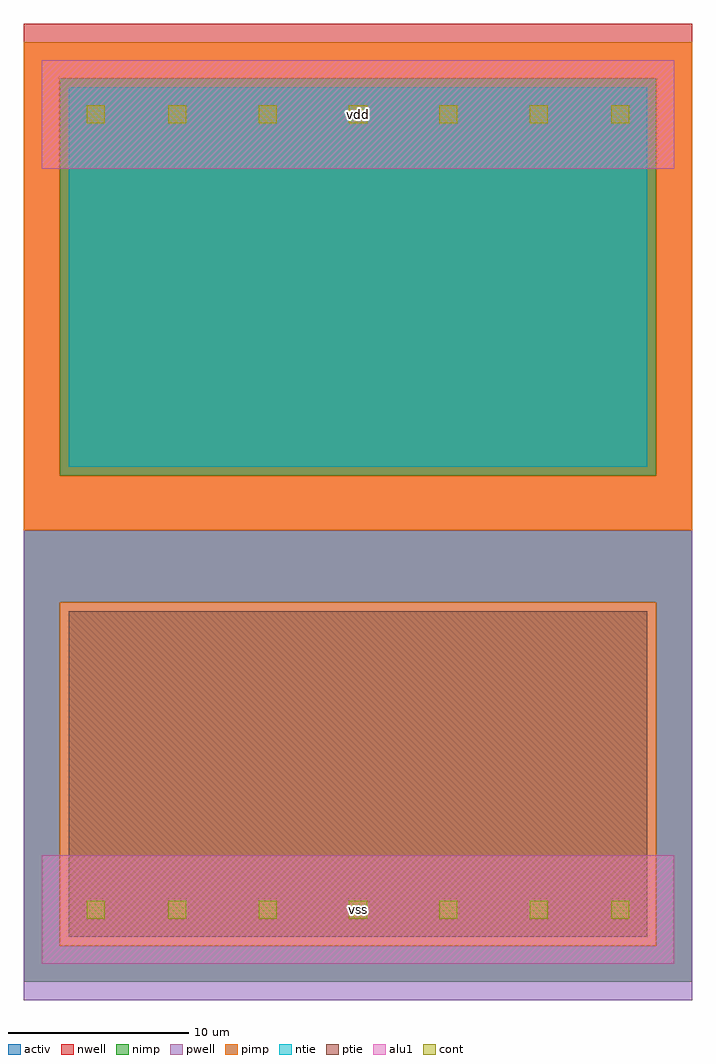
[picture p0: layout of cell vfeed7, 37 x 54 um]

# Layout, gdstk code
import gdstk
lib = gdstk.Library(unit=1e-6, precision=1e-09)
def R(c, l, rs):  # rectangles x0, y0, x1, y1
    for r in rs: c.add(gdstk.rectangle(r[:2], r[2:], *l))
def A(c, l, x, y, w, h, nx, ny, dx, dy):  # array of equal rectangles
    R(c, l, [(x+i*dx, y+j*dy, x+i*dx+w, y+j*dy+h) for i in range(nx) for j in range(ny)])
ntie = (5, 0)
ptie = (6, 0)
cont = (25, 0)
pwell = (41, 0)
nwell = (42, 0)
activ = (43, 0)
pimp = (44, 0)
nimp = (45, 0)
alu1 = (49, 0)

vfeed7 = lib.new_cell('vfeed7')
R(vfeed7, ntie, [(1.5,27.5,33.5,48.5)])
R(vfeed7, ptie, [(1.5,1.5,33.5,19.5)])
A(vfeed7, cont, 7, 2.5, 1, 1, 5, 2, 5, 44)
R(vfeed7, cont, [(2.5,2.5,3.5,3.5), (31.5,2.5,32.5,3.5), (2.5,46.5,3.5,47.5), (31.5,46.5,32.5,47.5)])
R(vfeed7, pwell, [(-1,-2,36,24)])
R(vfeed7, nwell, [(-1,24,36,52)])
R(vfeed7, activ, [(1.5,1.5,33.5,19.5), (1.5,27.5,33.5,48.5)])
R(vfeed7, pimp, [(1,1,34,20), (-1,24,36,27), (-1,27,1,49), (34,27,36,49), (-1,49,36,51)])
R(vfeed7, nimp, [(-1,-1,36,1), (-1,1,1,20), (34,1,36,20), (-1,20,36,24), (1,27,34,49)])
R(vfeed7, alu1, [(0,0,35,6), (0,44,35,50)])
vfeed7.add(gdstk.Label('vss', (17.5,3), layer=49, texttype=0))
vfeed7.add(gdstk.Label('vdd', (17.5,47), layer=49, texttype=0))

lib.write_gds('vfeed7.gds')
